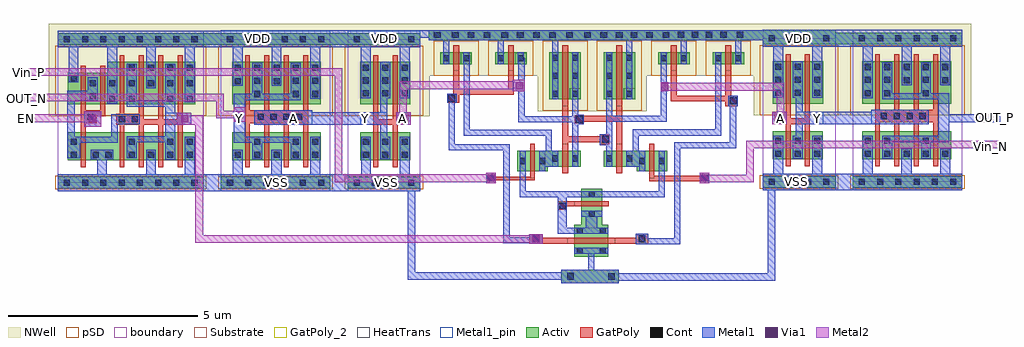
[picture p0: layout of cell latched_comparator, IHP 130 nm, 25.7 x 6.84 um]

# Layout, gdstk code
from math import pi, radians
import gdstk
lib = gdstk.Library(unit=1e-6, precision=5e-09)
def R(c, l, rs):  # rectangles x0, y0, x1, y1
    for r in rs: c.add(gdstk.rectangle(r[:2], r[2:], *l))
def A(c, l, x, y, w, h, nx, ny, dx, dy):  # array of equal rectangles
    R(c, l, [(x+i*dx, y+j*dy, x+i*dx+w, y+j*dy+h) for i in range(nx) for j in range(ny)])
def P(c, l, *ps):  # polygons
    for p in ps: c.add(gdstk.Polygon(p, *l))
Activ = (1, 0)
GatPoly = (5, 0)
GatPoly_2 = (5, 2)
Cont = (6, 0)
Metal1 = (8, 0)
Metal1_pin = (8, 2)
Metal2 = (10, 0)
pSD = (14, 0)
Via1 = (19, 0)
NWell = (31, 0)
Substrate = (40, 0)
HeatTrans = (51, 0)
boundary = (189, 4)

pmos_1 = lib.new_cell('pmos$1')
R(pmos_1, Activ, [(0,0,0.3,0.3), (0,0,0.83,0.32), (0.53,0,0.83,0.3)])
R(pmos_1, GatPoly, [(0.34,-0.18,0.49,0.5), (0.34,-0.18,0.49,0.5)])
R(pmos_1, Cont, [(0.07,0.08,0.23,0.24), (0.6,0.08,0.76,0.24)])
R(pmos_1, Metal1, [(0.07,0,0.23,0.32), (0.07,0,0.23,0.32), (0.6,0,0.76,0.32), (0.6,0,0.76,0.32)])
R(pmos_1, pSD, [(-0.18,-0.3,1.01,0.62)])
R(pmos_1, NWell, [(-0.31,-0.31,1.14,0.63)])
R(pmos_1, Substrate, [(0.53,0,0.83,0.3)])
R(pmos_1, HeatTrans, [(0.34,-0.18,0.49,0.5)])
pmos_1.add(gdstk.Label('pmos', (0.415,0.16), layer=63, texttype=0))
pmos_1.add(gdstk.Label('pmos', (0.415,0.16), layer=51, texttype=0))

pmos_2 = lib.new_cell('pmos$2')
R(pmos_2, Activ, [(0,0,0.3,0.3), (0,0,0.83,1.25), (0.53,0,0.83,0.3)])
R(pmos_2, GatPoly, [(0.34,-0.18,0.49,1.43), (0.34,-0.18,0.49,1.43)])
A(pmos_2, Cont, 0.07, 0.07, 0.16, 0.16, 1, 3, 0, 0.475)
A(pmos_2, Cont, 0.6, 0.07, 0.16, 0.16, 1, 3, 0, 0.475)
R(pmos_2, Metal1, [(0.07,0,0.23,1.25), (0.07,0,0.23,1.25), (0.6,0,0.76,1.25), (0.6,0,0.76,1.25)])
R(pmos_2, pSD, [(-0.18,-0.3,1.01,1.55)])
R(pmos_2, NWell, [(-0.31,-0.31,1.14,1.56)])
R(pmos_2, Substrate, [(0.53,0,0.83,0.3)])
R(pmos_2, HeatTrans, [(0.34,-0.18,0.49,1.43)])
pmos_2.add(gdstk.Label('pmos', (0.415,0.625), layer=63, texttype=0))
pmos_2.add(gdstk.Label('pmos', (0.415,0.625), layer=51, texttype=0))

nmos_1 = lib.new_cell('nmos$1')
R(nmos_1, Activ, [(0,0,0.3,0.3), (0,0,0.83,0.42), (0.53,0,0.83,0.3)])
R(nmos_1, GatPoly, [(0.34,-0.18,0.49,0.6)])
R(nmos_1, GatPoly_2, [(0.34,-0.18,0.49,0.6)])
R(nmos_1, Cont, [(0.07,0.13,0.23,0.29), (0.6,0.13,0.76,0.29)])
R(nmos_1, Metal1, [(0.07,0,0.23,0.42), (0.6,0,0.76,0.42)])
R(nmos_1, Metal1_pin, [(0.07,0,0.23,0.42), (0.6,0,0.76,0.42)])
R(nmos_1, HeatTrans, [(0.34,-0.18,0.49,0.6)])
nmos_1.add(gdstk.Label('nmos', (0.415,0.21), layer=63, texttype=0))
nmos_1.add(gdstk.Label('nmos', (0.415,0.21), layer=51, texttype=0))

nmos_2 = lib.new_cell('nmos$2')
R(nmos_2, Activ, [(0,0,0.3,0.3), (0,0,0.81,0.55), (0.51,0,0.81,0.3)])
R(nmos_2, GatPoly, [(0.34,-0.18,0.47,0.73)])
R(nmos_2, GatPoly_2, [(0.34,-0.18,0.47,0.73)])
R(nmos_2, Cont, [(0.07,0.195,0.23,0.355), (0.58,0.195,0.74,0.355)])
R(nmos_2, Metal1, [(0.07,0,0.23,0.55), (0.58,0,0.74,0.55)])
R(nmos_2, Metal1_pin, [(0.07,0,0.23,0.55), (0.58,0,0.74,0.55)])
R(nmos_2, HeatTrans, [(0.34,-0.18,0.47,0.73)])
nmos_2.add(gdstk.Label('nmos', (0.405,0.275), layer=63, texttype=0))
nmos_2.add(gdstk.Label('nmos', (0.405,0.275), layer=51, texttype=0))

cmim = lib.new_cell('cmim')

nmos_3 = lib.new_cell('nmos$3')
R(nmos_3, Activ, [(0,0,0.3,0.3), (0,0,0.83,0.9), (0.53,0,0.83,0.3)])
R(nmos_3, GatPoly, [(0.34,-0.18,0.49,1.08)])
R(nmos_3, GatPoly_2, [(0.34,-0.18,0.49,1.08)])
R(nmos_3, Cont, [(0.07,0.07,0.23,0.23), (0.6,0.07,0.76,0.23), (0.07,0.67,0.23,0.83), (0.6,0.67,0.76,0.83)])
R(nmos_3, Metal1, [(0.07,0,0.23,0.9), (0.6,0,0.76,0.9)])
R(nmos_3, Metal1_pin, [(0.07,0,0.23,0.9), (0.6,0,0.76,0.9)])
R(nmos_3, HeatTrans, [(0.34,-0.18,0.49,1.08)])
nmos_3.add(gdstk.Label('nmos', (0.415,0.45), layer=63, texttype=0))
nmos_3.add(gdstk.Label('nmos', (0.415,0.45), layer=51, texttype=0))

sg13g2_decap_8 = lib.new_cell('sg13g2_decap_8')

sg13g2_inv_2 = lib.new_cell('sg13g2_inv_2')

sg13g2_inv_4 = lib.new_cell('sg13g2_inv_4')
R(sg13g2_inv_4, Activ, [(-1.365,-0.055,1.515,0.245), (-1.12,0.685,1.22,1.425), (-1.12,2.155,1.22,3.275), (-1.365,3.725,1.515,4.025)])
P(sg13g2_inv_4, GatPoly, [(-0.78,0.505),(-0.78,3.455),(-0.65,3.455),(-0.65,1.995),(-0.27,1.995),(-0.27,3.455),(-0.14,3.455),(-0.14,1.995),(0.24,1.995),(0.24,3.455),(0.37,3.455),(0.37,1.995),(0.75,1.995),(0.75,3.455),(0.88,3.455),(0.88,0.505),(0.75,0.505),(0.75,1.665),(0.37,1.665),(0.37,0.505),(0.24,0.505),(0.24,1.665),(-0.14,1.665),(-0.14,0.505),(-0.27,0.505),(-0.27,1.665),(-0.65,1.665),(-0.65,0.505)])
A(sg13g2_inv_4, Cont, -1.05, 0.755, 0.16, 0.16, 5, 2, 0.51, 2.285)
A(sg13g2_inv_4, Cont, -0.63, 1.75, 0.16, 0.16, 4, 1, 0.34, 0)
R(sg13g2_inv_4, Cont, [(-1.205,0.015,-1.045,0.175), (-1.205,0.015,-1.045,0.175), (-0.725,0.015,-0.565,0.175), (-0.725,0.015,-0.565,0.175), (-0.245,0.015,-0.085,0.175), (-0.245,0.015,-0.085,0.175), (0.235,0.015,0.395,0.175), (0.235,0.015,0.395,0.175), (0.715,0.015,0.875,0.175), (0.715,0.015,0.875,0.175), (1.195,0.015,1.355,0.175), (1.195,0.015,1.355,0.175), (-1.05,1.095,-0.89,1.255), (-0.54,1.095,-0.38,1.255), (0.48,1.095,0.64,1.255), (-1.05,2.35,-0.89,2.51), (-0.54,2.35,-0.38,2.51), (0.48,2.35,0.64,2.51), (-0.03,2.69,0.13,2.85), (0.99,2.69,1.15,2.85), (-1.05,2.7,-0.89,2.86), (-0.54,2.7,-0.38,2.86), (0.48,2.7,0.64,2.86), (-1.205,3.795,-1.045,3.955), (-1.205,3.795,-1.045,3.955), (-0.725,3.795,-0.565,3.955), (-0.725,3.795,-0.565,3.955), (-0.245,3.795,-0.085,3.955), (-0.245,3.795,-0.085,3.955), (0.235,3.795,0.395,3.955), (0.235,3.795,0.395,3.955), (0.715,3.795,0.875,3.955), (0.715,3.795,0.875,3.955), (1.195,3.795,1.355,3.955), (1.195,3.795,1.355,3.955)])
R(sg13g2_inv_4, Metal1, [(-0.885,1.615,0.635,1.995)])
P(sg13g2_inv_4, Metal1, [(-0.59,0.705),(-0.59,1.305),(0.88,1.305),(0.88,2.265),(-0.59,2.265),(-0.59,3.25),(-0.33,3.25),(-0.33,2.435),(0.43,2.435),(0.43,3.25),(0.69,3.25),(0.69,2.435),(1.175,2.435),(1.175,1.145),(0.69,1.145),(0.69,0.705),(0.43,0.705),(0.43,1.145),(-0.33,1.145),(-0.33,0.705)],
  [(-1.1,2.3),(-1.1,3.655),(-1.365,3.655),(-1.365,4.095),(1.515,4.095),(1.515,3.655),(1.2,3.655),(1.2,2.64),(0.94,2.64),(0.94,3.655),(0.18,3.655),(0.18,2.64),(-0.08,2.64),(-0.08,3.655),(-0.84,3.655),(-0.84,2.3)],
  [(-1.365,-0.125),(-1.365,0.315),(-1.1,0.315),(-1.1,1.305),(-0.84,1.305),(-0.84,0.315),(-0.085,0.315),(-0.085,0.965),(0.185,0.965),(0.185,0.315),(0.94,0.315),(0.94,0.965),(1.2,0.965),(1.2,0.315),(1.515,0.315),(1.515,-0.125)])
R(sg13g2_inv_4, Metal1_pin, [(-1.365,-0.125,1.515,0.315), (0.88,1.145,1.175,2.435), (-0.885,1.615,0.635,1.995), (-1.365,3.655,1.515,4.095)])
R(sg13g2_inv_4, pSD, [(-1.435,-0.085,1.585,0.275), (-1.435,1.855,1.585,3.695)])
R(sg13g2_inv_4, NWell, [(-1.605,1.845,1.755,4.265)])
R(sg13g2_inv_4, boundary, [(-1.365,0.095,1.515,3.875)])
sg13g2_inv_4.add(gdstk.Label('A', (-0.405,1.775), layer=8, texttype=25))
sg13g2_inv_4.add(gdstk.Label('VDD', (0.56,3.895), layer=8, texttype=25))
sg13g2_inv_4.add(gdstk.Label('Y', (1.035,1.775), layer=8, texttype=25))
sg13g2_inv_4.add(gdstk.Label('VSS', (0.04,0.1), layer=8, texttype=25))

sg13g2_buf_4 = lib.new_cell('sg13g2_buf_4')
R(sg13g2_buf_4, Activ, [(-6.355,-5.555,-2.515,-5.255), (-6.09,-4.815,-2.73,-4.075), (-6.355,-1.775,-2.515,-1.475)])
P(sg13g2_buf_4, Activ, [(-6.09,-3.345),(-6.09,-2.505),(-5.04,-2.505),(-5.04,-2.225),(-2.73,-2.225),(-2.73,-3.345)])
P(sg13g2_buf_4, GatPoly, [(-4.73,-4.995),(-4.73,-3.885),(-4.815,-3.885),(-4.815,-3.585),(-4.73,-3.585),(-4.73,-2.045),(-4.6,-2.045),(-4.6,-3.585),(-4.22,-3.585),(-4.22,-2.045),(-4.09,-2.045),(-4.09,-3.735),(-3.71,-3.735),(-3.71,-2.045),(-3.58,-2.045),(-3.58,-3.735),(-3.2,-3.735),(-3.2,-2.045),(-3.07,-2.045),(-3.07,-4.995),(-3.2,-4.995),(-3.2,-3.885),(-3.58,-3.885),(-3.58,-4.995),(-3.71,-4.995),(-3.71,-3.885),(-4.09,-3.885),(-4.09,-4.995),(-4.22,-4.995),(-4.22,-3.885),(-4.6,-3.885),(-4.6,-4.995)],
  [(-5.75,-4.995),(-5.75,-2.325),(-5.62,-2.325),(-5.62,-3.505),(-5.24,-3.505),(-5.24,-2.325),(-5.11,-2.325),(-5.11,-3.655),(-5.335,-3.655),(-5.335,-3.835),(-5.62,-3.835),(-5.62,-4.995)])
A(sg13g2_buf_4, Cont, -4.49, -4.745, 0.16, 0.16, 4, 2, 0.51, 2.29)
A(sg13g2_buf_4, Cont, -5.51, -2.865, 0.16, 0.16, 6, 1, 0.51, 0)
R(sg13g2_buf_4, Cont, [(-6.195,-5.485,-6.035,-5.325), (-6.195,-5.485,-6.035,-5.325), (-5.715,-5.485,-5.555,-5.325), (-5.715,-5.485,-5.555,-5.325), (-5.235,-5.485,-5.075,-5.325), (-5.235,-5.485,-5.075,-5.325), (-4.755,-5.485,-4.595,-5.325), (-4.755,-5.485,-4.595,-5.325), (-4.275,-5.485,-4.115,-5.325), (-4.275,-5.485,-4.115,-5.325), (-3.795,-5.485,-3.635,-5.325), (-3.795,-5.485,-3.635,-5.325), (-3.315,-5.485,-3.155,-5.325), (-3.315,-5.485,-3.155,-5.325), (-2.835,-5.485,-2.675,-5.325), (-2.835,-5.485,-2.675,-5.325), (-6.02,-4.745,-5.86,-4.585), (-5.44,-4.745,-5.28,-4.585), (-5.1,-4.745,-4.94,-4.585), (-6.02,-4.405,-5.86,-4.245), (-4.49,-4.405,-4.33,-4.245), (-3.47,-4.405,-3.31,-4.245), (-2.96,-4.405,-2.8,-4.245), (-4.745,-3.815,-4.585,-3.655), (-4.405,-3.815,-4.245,-3.655), (-5.58,-3.75,-5.42,-3.59), (-5,-3.275,-4.84,-3.115), (-4.49,-3.275,-4.33,-3.115), (-3.47,-3.275,-3.31,-3.115), (-2.96,-3.275,-2.8,-3.115), (-5.51,-3.205,-5.35,-3.045), (-6.02,-2.735,-5.86,-2.575), (-6.195,-1.705,-6.035,-1.545), (-6.195,-1.705,-6.035,-1.545), (-5.715,-1.705,-5.555,-1.545), (-5.715,-1.705,-5.555,-1.545), (-5.235,-1.705,-5.075,-1.545), (-5.235,-1.705,-5.075,-1.545), (-4.755,-1.705,-4.595,-1.545), (-4.755,-1.705,-4.595,-1.545), (-4.275,-1.705,-4.115,-1.545), (-4.275,-1.705,-4.115,-1.545), (-3.795,-1.705,-3.635,-1.545), (-3.795,-1.705,-3.635,-1.545), (-3.315,-1.705,-3.155,-1.545), (-3.315,-1.705,-3.155,-1.545), (-2.835,-1.705,-2.675,-1.545), (-2.835,-1.705,-2.675,-1.545)])
R(sg13g2_buf_4, Metal1, [(-5.665,-3.93,-5.215,-3.52)])
P(sg13g2_buf_4, Metal1, [(-6.355,-5.625),(-6.355,-5.185),(-5.32,-5.185),(-5.32,-4.795),(-5.49,-4.795),(-5.49,-4.535),(-4.89,-4.535),(-4.89,-4.795),(-5.06,-4.795),(-5.06,-5.185),(-4.03,-5.185),(-4.03,-4.535),(-3.77,-4.535),(-3.77,-5.185),(-3.01,-5.185),(-3.01,-4.195),(-2.75,-4.195),(-2.75,-5.185),(-2.515,-5.185),(-2.515,-5.625)],
  [(-5.05,-3.325),(-5.05,-1.845),(-5.81,-1.845),(-5.81,-2.765),(-6.07,-2.765),(-6.07,-1.845),(-6.355,-1.845),(-6.355,-1.405),(-2.515,-1.405),(-2.515,-1.845),(-2.75,-1.845),(-2.75,-3.29),(-3.01,-3.29),(-3.01,-1.845),(-3.77,-1.845),(-3.77,-2.915),(-4.03,-2.915),(-4.03,-1.845),(-4.79,-1.845),(-4.79,-3.325)],
  [(-6.105,-4.765),(-6.105,-2.985),(-5.56,-2.985),(-5.56,-2.635),(-5.3,-2.635),(-5.3,-3.255),(-5.915,-3.255),(-5.915,-4.195),(-4.945,-4.195),(-4.945,-3.605),(-4.195,-3.605),(-4.195,-3.865),(-4.78,-3.865),(-4.78,-4.355),(-5.76,-4.355),(-5.76,-4.765)],
  [(-3.52,-4.8),(-3.52,-4.34),(-4.28,-4.34),(-4.28,-4.76),(-4.54,-4.76),(-4.54,-4.18),(-3.52,-4.18),(-3.52,-3.41),(-4.54,-3.41),(-4.54,-2.275),(-4.28,-2.275),(-4.28,-3.24),(-3.52,-3.24),(-3.52,-2.275),(-3.26,-2.275),(-3.26,-3.565),(-2.835,-3.565),(-2.835,-3.88),(-3.26,-3.88),(-3.26,-4.8)])
R(sg13g2_buf_4, Metal1_pin, [(-6.355,-5.625,-2.515,-5.185), (-5.665,-3.93,-5.215,-3.52), (-3.52,-3.88,-2.835,-3.565), (-6.355,-1.845,-2.515,-1.405)])
R(sg13g2_buf_4, pSD, [(-6.425,-5.585,-2.445,-5.225), (-6.425,-3.645,-2.445,-1.805)])
R(sg13g2_buf_4, NWell, [(-6.595,-3.655,-2.275,-1.235)])
R(sg13g2_buf_4, boundary, [(-6.355,-5.405,-2.515,-1.625)])
sg13g2_buf_4.add(gdstk.Label('VDD', (-4.845,-1.625), layer=8, texttype=25))
sg13g2_buf_4.add(gdstk.Label('A', (-5.485,-3.605), layer=8, texttype=25))
sg13g2_buf_4.add(gdstk.Label('VSS', (-3.955,-5.405), layer=8, texttype=25))
sg13g2_buf_4.add(gdstk.Label('X', (-2.995,-3.725), layer=8, texttype=25))

latched_comparator = lib.new_cell('latched_comparator')
R(latched_comparator, Activ, [(2.755,-5.355,4.26,-5.01), (3.275,-3.895,3.825,-3.64), (-6.21,-2.86,-3.33,-2.56), (-2.875,-2.86,-0.955,-2.56), (8.055,-2.84,9.975,-2.54), (2.31,-2.285,2.5,-1.865), (4.625,-2.285,4.805,-1.865), (-5.915,-2.12,-3.575,-1.38), (-2.54,-2.12,-1.22,-1.38), (8.32,-2.1,9.64,-1.36), (-5.915,-0.65,-3.575,0.47), (-2.545,-0.65,-1.22,0.47), (8.32,-0.63,9.645,0.49), (-6.94,0.92,-6.025,1.22), (-6.21,0.92,-3.33,1.22), (-3.535,0.92,-2.54,1.22), (-2.875,0.92,-0.955,1.22), (8.055,0.94,9.975,1.24), (9.64,0.94,10.635,1.24), (-0.74,1.04,7.875,1.3), (7.575,1.04,9.975,1.3)])
R(latched_comparator, GatPoly, [(4.71,-4.33,5.045,-4.05), (1.91,-4.315,3.355,-4.165), (1.91,-4.315,2.255,-4.075), (3.84,-4.315,5.045,-4.165), (2.665,-3.43,2.9,-3.205), (2.765,-3.335,3.13,-3.205), (6.43,-2.685,6.62,-2.495), (0.81,-2.68,1,-2.49), (5.075,-2.67,6.62,-2.53), (1,-2.65,2.06,-2.55), (2.78,-1.76,2.93,-0.645), (4.205,-1.75,4.355,-0.645), (3.8,-1.7,4.02,-1.45), (3.11,-1.15,3.345,-0.935), (7.075,-0.7,7.4,-0.425), (-0.25,-0.6,0.06,-0.365), (-0.09,-0.6,0.06,0.905), (5.64,-0.57,5.79,0.91), (5.64,-0.57,7.225,-0.425), (7.075,-0.565,7.225,0.91), (-0.09,-0.4,1.5,-0.24), (1.35,-0.4,1.5,0.905)])
P(latched_comparator, GatPoly, [(8.66,-2.28),(8.66,-1.17),(8.36,-1.17),(8.36,-0.84),(8.66,-0.84),(8.66,0.67),(8.79,0.67),(8.79,-1.02),(9.17,-1.02),(9.17,0.67),(9.3,0.67),(9.3,-2.28),(9.17,-2.28),(9.17,-1.17),(8.79,-1.17),(8.79,-2.28)],
  [(-2.2,-2.3),(-2.2,0.65),(-2.07,0.65),(-2.07,-1.04),(-1.69,-1.04),(-1.69,0.65),(-1.56,0.65),(-1.56,-0.86),(-1.26,-0.86),(-1.26,-1.19),(-1.56,-1.19),(-1.56,-2.3),(-1.69,-2.3),(-1.69,-1.19),(-2.07,-1.19),(-2.07,-2.3)],
  [(-5.575,-2.3),(-5.575,0.65),(-5.445,0.65),(-5.445,-0.81),(-5.065,-0.81),(-5.065,0.65),(-4.935,0.65),(-4.935,-0.81),(-4.555,-0.81),(-4.555,0.65),(-4.425,0.65),(-4.425,-0.81),(-4.045,-0.81),(-4.045,0.65),(-3.915,0.65),(-3.915,-2.3),(-4.045,-2.3),(-4.045,-1.14),(-4.425,-1.14),(-4.425,-2.3),(-4.555,-2.3),(-4.555,-1.14),(-4.935,-1.14),(-4.935,-2.3),(-5.065,-2.3),(-5.065,-1.14),(-5.445,-1.14),(-5.445,-2.3)])
A(latched_comparator, Cont, -5.845, -2.05, 0.16, 0.16, 5, 2, 0.51, 2.285)
A(latched_comparator, Cont, -2.47, -2.05, 0.16, 0.16, 3, 2, 0.51, 0.34)
A(latched_comparator, Cont, 8.39, -2.03, 0.16, 0.16, 3, 2, 0.51, 0.34)
A(latched_comparator, Cont, -5.245, -1.055, 0.16, 0.16, 4, 1, 0.34, 0)
A(latched_comparator, Cont, -2.475, -0.44, 0.16, 0.16, 1, 3, 0, 0.34)
A(latched_comparator, Cont, -1.96, -0.44, 0.16, 0.16, 1, 3, 0, 0.34)
A(latched_comparator, Cont, -1.45, -0.44, 0.16, 0.16, 1, 3, 0, 0.34)
A(latched_comparator, Cont, 8.39, -0.42, 0.16, 0.16, 1, 3, 0, 0.34)
A(latched_comparator, Cont, 8.9, -0.42, 0.16, 0.16, 1, 3, 0, 0.34)
A(latched_comparator, Cont, 9.415, -0.42, 0.16, 0.16, 1, 3, 0, 0.34)
A(latched_comparator, Cont, 5.815, 1.11, 0.175, 0.15, 3, 1, 0.37, 0)
R(latched_comparator, Cont, [(3.985,-5.27,4.165,-5.09), (2.905,-5.265,3.085,-5.085), (2,-4.285,2.18,-4.105), (4.79,-4.28,4.97,-4.1), (2.705,-3.4,2.87,-3.24), (-6.05,-2.79,-5.89,-2.63), (-6.05,-2.79,-5.89,-2.63), (-5.57,-2.79,-5.41,-2.63), (-5.57,-2.79,-5.41,-2.63), (-5.09,-2.79,-4.93,-2.63), (-5.09,-2.79,-4.93,-2.63), (-4.61,-2.79,-4.45,-2.63), (-4.61,-2.79,-4.45,-2.63), (-4.13,-2.79,-3.97,-2.63), (-4.13,-2.79,-3.97,-2.63), (-3.65,-2.79,-3.49,-2.63), (-3.65,-2.79,-3.49,-2.63), (-2.715,-2.79,-2.555,-2.63), (-2.715,-2.79,-2.555,-2.63), (-2.235,-2.79,-2.075,-2.63), (-2.235,-2.79,-2.075,-2.63), (-1.755,-2.79,-1.595,-2.63), (-1.755,-2.79,-1.595,-2.63), (-1.275,-2.79,-1.115,-2.63), (-1.275,-2.79,-1.115,-2.63), (8.215,-2.77,8.375,-2.61), (8.215,-2.77,8.375,-2.61), (8.695,-2.77,8.855,-2.61), (8.695,-2.77,8.855,-2.61), (9.175,-2.77,9.335,-2.61), (9.175,-2.77,9.335,-2.61), (9.655,-2.77,9.815,-2.61), (9.655,-2.77,9.815,-2.61), (6.435,-2.685,6.625,-2.495), (0.815,-2.68,1.005,-2.49), (-5.335,-1.71,-5.175,-1.55), (-4.315,-1.71,-4.155,-1.55), (-3.805,-1.71,-3.645,-1.55), (3.825,-1.665,4.005,-1.47), (3.135,-1.13,3.325,-0.955), (-1.505,-1.105,-1.345,-0.945), (8.445,-1.085,8.605,-0.925), (7.195,-0.645,7.375,-0.465), (-0.22,-0.575,-0.035,-0.395), (-5.335,-0.455,-5.175,-0.295), (-4.315,-0.455,-4.155,-0.295), (-3.805,-0.455,-3.645,-0.295), (-5.845,-0.115,-5.685,0.045), (-4.825,-0.115,-4.665,0.045), (-5.335,-0.105,-5.175,0.055), (-4.315,-0.105,-4.155,0.055), (-3.805,-0.105,-3.645,0.055), (-6.05,0.99,-5.89,1.15), (-6.05,0.99,-5.89,1.15), (-5.57,0.99,-5.41,1.15), (-5.57,0.99,-5.41,1.15), (-5.09,0.99,-4.93,1.15), (-5.09,0.99,-4.93,1.15), (-4.61,0.99,-4.45,1.15), (-4.61,0.99,-4.45,1.15), (-4.13,0.99,-3.97,1.15), (-4.13,0.99,-3.97,1.15), (-3.65,0.99,-3.49,1.15), (-3.65,0.99,-3.49,1.15), (-2.715,0.99,-2.555,1.15), (-2.715,0.99,-2.555,1.15), (-2.235,0.99,-2.075,1.15), (-2.235,0.99,-2.075,1.15), (-1.755,0.99,-1.595,1.15), (-1.755,0.99,-1.595,1.15), (-1.275,0.99,-1.115,1.15), (-1.275,0.99,-1.115,1.15), (8.215,1.01,8.375,1.17), (8.215,1.01,8.375,1.17), (8.695,1.01,8.855,1.17), (8.695,1.01,8.855,1.17), (9.175,1.01,9.335,1.17), (9.175,1.01,9.335,1.17), (9.655,1.01,9.815,1.17), (9.655,1.01,9.815,1.17), (-0.6,1.1,-0.425,1.25), (-0.125,1.1,0.05,1.25), (0.29,1.1,0.465,1.25), (0.71,1.1,0.885,1.25), (1.175,1.1,1.35,1.25), (1.585,1.1,1.76,1.25), (2.015,1.1,2.19,1.25), (4.58,1.1,4.755,1.25), (4.99,1.1,5.165,1.25), (2.435,1.105,2.61,1.255), (2.885,1.105,3.06,1.255), (3.36,1.105,3.535,1.255), (3.785,1.105,3.96,1.255), (4.19,1.105,4.365,1.255), (5.42,1.105,5.595,1.255), (6.94,1.11,7.115,1.26), (7.375,1.11,7.55,1.26)])
R(latched_comparator, Metal1, [(2.75,-5.365,4.27,-5), (3.465,-5.155,3.625,-4.505), (4.71,-4.33,5.045,-4.05), (1.91,-4.315,2.255,-4.075), (2.665,-4.055,2.9,-3.375), (2.665,-4.055,3.395,-3.895), (3.395,-4.055,3.695,-3.445), (2.665,-3.43,2.9,-2.935), (1.66,-3.095,3.86,-2.935), (1.66,-3.095,1.82,-1.865), (3.275,-3.095,5.475,-2.935), (5.315,-3.095,5.475,-1.865), (-10.505,-2.93,-3.25,-2.49), (-6.21,-2.93,-0.955,-2.49), (8.055,-2.91,13.31,-2.47), (6.395,-2.725,6.65,-2.455), (0.775,-2.72,1.03,-2.45), (2.17,-2.285,2.67,-1.865), (4.465,-2.285,4.965,-1.865), (3.04,-1.97,3.2,-0.385), (3.935,-1.97,4.095,-0.29), (3.765,-1.72,4.03,-1.435), (-5.33,-1.19,-3.81,-0.81), (-4.115,-1.19,-2.36,-0.86), (-1.59,-1.19,-1.21,-0.86), (3.04,-1.175,3.345,-0.925), (8.31,-1.17,8.69,-0.84), (9.46,-1.17,11.215,-0.84), (7.145,-0.7,7.4,-0.425), (-0.25,-0.6,0,-0.365), (2.51,-0.52,2.67,1.3), (4.465,-0.52,4.625,1.3), (1.48,-0.305,1.785,0), (5.375,-0.3,5.575,-0.07), (-0.36,0.41,-0.2,1.3), (1.08,0.41,1.24,1.3), (5.9,0.41,6.06,1.3), (7.335,0.41,7.495,1.3), (-6.805,0.85,-5.945,1.29), (-3.85,0.85,-2.54,1.29), (9.64,0.87,10.95,1.31), (-0.74,1.04,7.875,1.3), (7.59,1.04,9.975,1.3), (-6.21,1.1,-0.21,1.3)])
P(latched_comparator, Metal1, [(8.85,-2.08),(8.85,-1.48),(8.925,-1.48),(8.925,-0.47),(8.85,-0.47),(8.85,0.49),(9.11,0.49),(9.11,-0.84),(9.645,-0.84),(9.645,-1.17),(9.11,-1.17),(9.11,-2.08)],
  [(8.055,-2.91),(8.055,-2.47),(8.34,-2.47),(8.34,-1.48),(8.6,-1.48),(8.6,-2.47),(9.36,-2.47),(9.36,-1.48),(9.62,-1.48),(9.62,-2.47),(9.975,-2.47),(9.975,-2.91)],
  [(8.34,-0.47),(8.34,0.87),(8.055,0.87),(8.055,1.31),(9.975,1.31),(9.975,0.87),(9.625,0.87),(9.625,-0.47),(9.365,-0.47),(9.365,0.87),(8.6,0.87),(8.6,-0.47)],
  [(-5.385,-2.1),(-5.385,-1.66),(-5.87,-1.66),(-5.87,-0.37),(-5.385,-0.37),(-5.385,0.445),(-5.125,0.445),(-5.125,-0.37),(-4.365,-0.37),(-4.365,0.445),(-4.105,0.445),(-4.105,-0.54),(-5.575,-0.54),(-5.575,-1.5),(-4.105,-1.5),(-4.105,-2.1),(-4.365,-2.1),(-4.365,-1.66),(-5.125,-1.66),(-5.125,-2.1)],
  [(-3.855,-0.505),(-3.855,0.85),(-4.615,0.85),(-4.615,-0.165),(-4.875,-0.165),(-4.875,0.85),(-5.635,0.85),(-5.635,-0.165),(-5.895,-0.165),(-5.895,0.85),(-6.21,0.85),(-6.21,1.29),(-3.33,1.29),(-3.33,0.85),(-3.595,0.85),(-3.595,-0.505)],
  [(-6.21,-2.93),(-6.21,-2.49),(-5.895,-2.49),(-5.895,-1.84),(-5.635,-1.84),(-5.635,-2.49),(-4.88,-2.49),(-4.88,-1.84),(-4.61,-1.84),(-4.61,-2.49),(-3.855,-2.49),(-3.855,-1.5),(-3.595,-1.5),(-3.595,-2.49),(-3.33,-2.49),(-3.33,-2.93)],
  [(-2.01,-2.1),(-2.01,-1.19),(-2.545,-1.19),(-2.545,-0.86),(-2.01,-0.86),(-2.01,0.47),(-1.75,0.47),(-1.75,-0.49),(-1.825,-0.49),(-1.825,-1.5),(-1.75,-1.5),(-1.75,-2.1)],
  [(-2.875,-2.93),(-2.875,-2.49),(-2.52,-2.49),(-2.52,-1.5),(-2.26,-1.5),(-2.26,-2.49),(-1.5,-2.49),(-1.5,-1.5),(-1.24,-1.5),(-1.24,-2.49),(-0.955,-2.49),(-0.955,-2.93)],
  [(-2.525,-0.49),(-2.525,0.85),(-2.875,0.85),(-2.875,1.29),(-0.955,1.29),(-0.955,0.85),(-1.24,0.85),(-1.24,-0.49),(-1.5,-0.49),(-1.5,0.85),(-2.265,0.85),(-2.265,-0.49)])
R(latched_comparator, Metal1_pin, [(-6.21,-2.93,-3.33,-2.49), (-2.875,-2.93,-0.955,-2.49), (8.055,-2.91,9.975,-2.47), (-5.87,-1.66,-5.575,-0.37), (-5.33,-1.19,-3.81,-0.81), (-2.545,-1.19,-1.825,-0.86), (-1.59,-1.19,-1.21,-0.86), (8.31,-1.17,8.69,-0.84), (8.925,-1.17,9.645,-0.84), (-6.21,0.85,-3.33,1.29), (-2.875,0.85,-0.955,1.29), (8.055,0.87,9.975,1.31)])
R(latched_comparator, Metal2, [(1.91,-4.32,2.26,-4.07), (6.395,-2.725,6.65,-2.455), (0.775,-2.72,1.03,-2.45), (-9.815,-1.235,-9.365,-0.825), (-7.37,-1.19,-6.985,-0.87), (-7.26,-1.19,-6.68,-0.935), (-1.59,-1.19,-1.21,-0.86), (8.31,-1.17,8.69,-0.84), (-5.87,-1.1,-5.575,-0.73), (1.48,-0.305,1.785,0), (5.375,-0.3,5.575,-0.07)])
R(latched_comparator, pSD, [(2.75,-5.365,4.27,-5), (-6.28,-2.89,-3.26,-2.53), (-2.945,-2.89,-0.885,-2.53), (7.985,-2.87,10.045,-2.51), (-6.28,-0.95,-3.26,0.89), (-2.945,-0.95,-0.885,0.89), (7.985,-0.93,10.045,0.91)])
R(latched_comparator, Via1, [(1.99,-4.285,2.18,-4.095), (6.425,-2.685,6.615,-2.495), (0.805,-2.68,0.995,-2.49), (-1.49,-1.125,-1.3,-0.935), (-7.255,-1.12,-7.065,-0.93), (-9.69,-1.115,-9.5,-0.925), (8.4,-1.105,8.59,-0.915), (-5.815,-1.015,-5.625,-0.825), (5.38,-0.275,5.57,-0.085), (1.56,-0.25,1.75,-0.06)])
R(latched_comparator, NWell, [(-6.45,-0.96,-3.09,1.46), (-3.115,-0.96,-0.715,1.46), (7.815,-0.94,10.215,1.48), (-10.745,0.91,13.55,1.48), (-0.74,1.04,7.875,1.3)])
R(latched_comparator, boundary, [(-6.21,-2.71,-3.33,1.07), (-2.875,-2.71,-0.955,1.07), (8.055,-2.69,9.975,1.09)])
latched_comparator.add(gdstk.FlexPath([(3.935,-1.025),(5.455,-1.025),(5.455,0.71),(5.455,0.71)], 0.16, ends="flush", simple_path=True, layer=8, datatype=0))  # Metal1
latched_comparator.add(gdstk.FlexPath([(3.11,-1.045),(1.705,-1.045),(1.705,0.575),(1.705,0.575)], 0.16, ends="flush", simple_path=True, layer=8, datatype=0))  # Metal1
latched_comparator.add(gdstk.FlexPath([(2.425,-2.07),(2.425,-1.395),(0.26,-1.395),(0.26,0.66),(0.26,0.66)], 0.16, ends="flush", simple_path=True, layer=8, datatype=0))  # Metal1
latched_comparator.add(gdstk.FlexPath([(4.715,-2.045),(4.715,-1.39),(6.885,-1.39),(6.885,0.565),(6.885,0.565),(6.885,0.61)], 0.16, ends="flush", simple_path=True, layer=8, datatype=0))  # Metal1
latched_comparator.add(gdstk.FlexPath([(-0.135,-0.365),(-0.135,-1.775),(1.31,-1.775),(1.31,-4.23),(2.255,-4.23)], 0.16, ends="flush", simple_path=True, layer=8, datatype=0))  # Metal1
latched_comparator.add(gdstk.FlexPath([(7.275,-0.425),(7.275,-1.73),(5.805,-1.73),(5.805,-4.25),(4.71,-4.25)], 0.16, ends="flush", simple_path=True, layer=8, datatype=0))  # Metal1
latched_comparator.add(gdstk.FlexPath([(3.855,-5.195),(8.29,-5.195),(8.29,-2.52),(8.29,-2.52)], 0.2, ends="flush", simple_path=True, layer=8, datatype=0))  # Metal1
latched_comparator.add(gdstk.FlexPath([(3.145,-5.165),(-1.19,-5.165),(-1.19,-2.565)], 0.2, ends="flush", simple_path=True, layer=8, datatype=0))  # Metal1
latched_comparator.add(gdstk.FlexPath([(12.675,-1.015),(14.305,-1.015)], 0.2, ends="flush", simple_path=True, layer=8, datatype=0))  # Metal1
latched_comparator.add(gdstk.FlexPath([(2.78,-1.565),(4.02,-1.565)], 0.15, ends="flush", simple_path=True, layer=5, datatype=0))  # GatPoly
latched_comparator.add(gdstk.FlexPath([(4.265,-1.025),(3.185,-1.025)], 0.15, ends="flush", simple_path=True, layer=5, datatype=0))  # GatPoly
latched_comparator.add(gdstk.FlexPath([(8.52,-1.17),(8.52,-0.185),(5.38,-0.185),(5.38,-0.185)], 0.2, ends="flush", simple_path=True, layer=10, datatype=0))  # Metal2
latched_comparator.add(gdstk.FlexPath([(-1.41,-1.19),(-1.41,-0.145),(1.785,-0.145),(1.785,-0.145)], 0.2, ends="flush", simple_path=True, layer=10, datatype=0))  # Metal2
latched_comparator.add(gdstk.FlexPath([(-9.425,-1.015),(-11.395,-1.015)], 0.2, ends="flush", simple_path=True, layer=10, datatype=0))  # Metal2
latched_comparator.add(gdstk.FlexPath([(-7.3,-1.035),(-6.78,-1.035),(-6.78,-4.195),(2.25,-4.195)], 0.2, ends="flush", simple_path=True, layer=10, datatype=0))  # Metal2
latched_comparator.add(gdstk.FlexPath([(-5.58,-0.92),(-6.235,-0.92),(-6.235,-0.47),(-11.38,-0.47)], 0.2, ends="flush", simple_path=True, layer=10, datatype=0))  # Metal2
latched_comparator.add(gdstk.FlexPath([(1.03,-2.595),(-3.115,-2.595),(-3.115,0.205),(-11.36,0.205)], 0.2, ends="flush", simple_path=True, layer=10, datatype=0))  # Metal2
latched_comparator.add(gdstk.FlexPath([(6.395,-2.6),(7.72,-2.6),(7.72,-1.71),(14.29,-1.71)], 0.2, ends="flush", simple_path=True, layer=10, datatype=0))  # Metal2
latched_comparator.add(gdstk.Reference(pmos_1, (-0.43,0.41)))
latched_comparator.add(gdstk.Reference(pmos_2, (3.865,-0.52)))
latched_comparator.add(gdstk.Reference(pmos_2, (2.44,-0.52)))
latched_comparator.add(gdstk.Reference(pmos_1, (1.01,0.41)))
latched_comparator.add(gdstk.Reference(pmos_1, (5.3,0.41)))
latched_comparator.add(gdstk.Reference(pmos_1, (6.735,0.41)))
latched_comparator.add(gdstk.Reference(nmos_1, (2.44,-2.285)))
latched_comparator.add(gdstk.Reference(nmos_1, (3.865,-2.285)))
latched_comparator.add(gdstk.Reference(nmos_2, (1.59,-2.415)))
latched_comparator.add(gdstk.Reference(nmos_2, (4.735,-2.415)))
latched_comparator.add(gdstk.Reference(cmim, (-0.925,-1.85)))
latched_comparator.add(gdstk.Reference(nmos_2, (3.275,-2.865), rotation=3*pi/2))
latched_comparator.add(gdstk.Reference(nmos_3, (3.09,-3.825), rotation=3*pi/2))
latched_comparator.add(gdstk.Reference(sg13g2_decap_8, (7.28,-4.5)))
latched_comparator.add(gdstk.Reference(sg13g2_inv_2, (8.565,-2.89)))
latched_comparator.add(gdstk.Reference(sg13g2_inv_2, (-3.42,-7.83)))
latched_comparator.add(gdstk.Reference(sg13g2_inv_4, (11.795,-2.785)))
latched_comparator.add(gdstk.Reference(sg13g2_inv_2, (-5.025,-0.08)))
latched_comparator.add(gdstk.Reference(sg13g2_inv_2, (-5.3,2.17)))
latched_comparator.add(gdstk.Reference(sg13g2_inv_2, (-4.9,3.705)))
latched_comparator.add(gdstk.Reference(sg13g2_inv_2, (-7.78,0.31)))
latched_comparator.add(gdstk.Reference(sg13g2_inv_2, (-6.875,-0.03)))
latched_comparator.add(gdstk.Reference(sg13g2_inv_2, (-6.245,0.385)))
latched_comparator.add(gdstk.Reference(sg13g2_inv_2, (-6.245,0.345)))
latched_comparator.add(gdstk.Reference(sg13g2_inv_2, (-6.52,-0.205)))
latched_comparator.add(gdstk.Reference(sg13g2_inv_2, (-5.25,1.455)))
latched_comparator.add(gdstk.Reference(sg13g2_inv_2, (-8.75,1.265)))
latched_comparator.add(gdstk.Reference(sg13g2_inv_2, (-4.775,0.36)))
latched_comparator.add(gdstk.Reference(sg13g2_inv_2, (-4.76,1.905)))
latched_comparator.add(gdstk.Reference(sg13g2_inv_2, (-4.75,2.085)))
latched_comparator.add(gdstk.Reference(sg13g2_inv_2, (-4.65,0.41)))
latched_comparator.add(gdstk.Reference(sg13g2_inv_2, (-3.4,1.905)))
latched_comparator.add(gdstk.Reference(sg13g2_buf_4, (-4.15,2.695)))
latched_comparator.add(gdstk.Label('OUT_P', (14.155,-0.995), layer=8, texttype=0))
latched_comparator.add(gdstk.Label('A', (8.535,-1.01), layer=8, texttype=25))
latched_comparator.add(gdstk.Label('Y', (9.495,-1.01), layer=8, texttype=25))
latched_comparator.add(gdstk.Label('VDD', (8.99,1.095), layer=8, texttype=25))
latched_comparator.add(gdstk.Label('VSS', (8.945,-2.69), layer=8, texttype=25))
latched_comparator.add(gdstk.Label('A', (-1.435,-1.03), layer=8, texttype=25))
latched_comparator.add(gdstk.Label('Y', (-2.395,-1.03), layer=8, texttype=25))
latched_comparator.add(gdstk.Label('VDD', (-1.89,1.075), layer=8, texttype=25))
latched_comparator.add(gdstk.Label('VSS', (-1.845,-2.71), layer=8, texttype=25))
latched_comparator.add(gdstk.Label('A', (-4.29,-1.03), layer=8, texttype=25))
latched_comparator.add(gdstk.Label('VDD', (-5.255,1.09), layer=8, texttype=25))
latched_comparator.add(gdstk.Label('Y', (-5.73,-1.03), layer=8, texttype=25))
latched_comparator.add(gdstk.Label('VSS', (-4.735,-2.705), layer=8, texttype=25))
latched_comparator.add(gdstk.Label('EN', (-11.33,-1.025), layer=10, texttype=0))
latched_comparator.add(gdstk.Label('OUT_N', (-11.335,-0.485), layer=10, texttype=0))
latched_comparator.add(gdstk.Label('Vin_P', (-11.285,0.18), layer=10, texttype=0))
latched_comparator.add(gdstk.Label('Vin_N', (14.05,-1.75), layer=10, texttype=0))

lib.write_gds('latched_comparator.gds')
